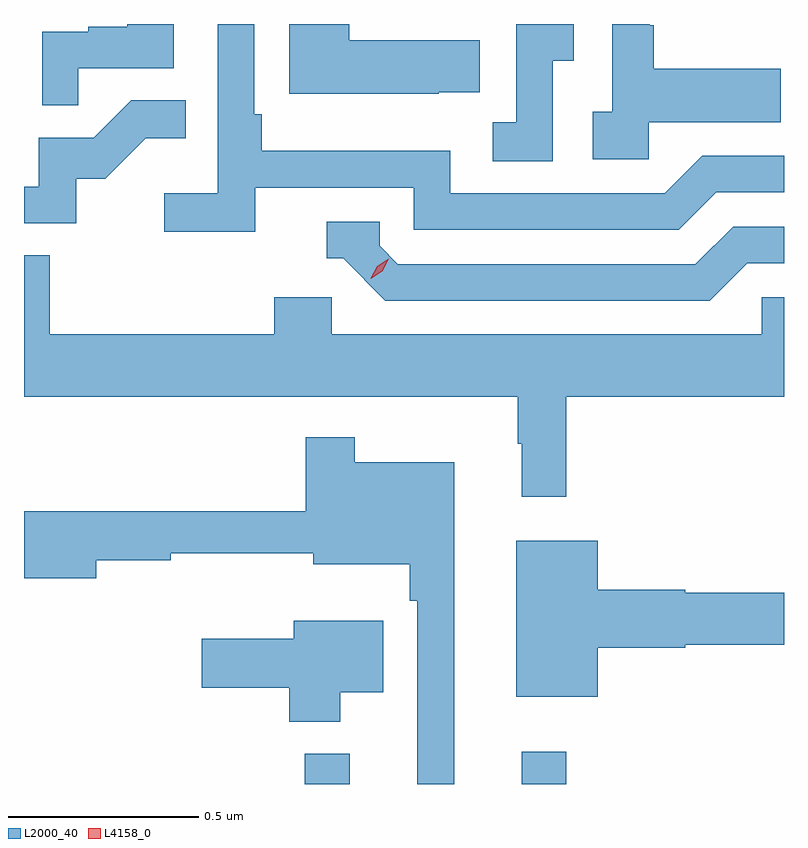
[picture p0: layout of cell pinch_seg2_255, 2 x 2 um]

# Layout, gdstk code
import gdstk
lib = gdstk.Library(unit=1e-6, precision=1e-09)
def R(c, l, rs):  # rectangles x0, y0, x1, y1
    for r in rs: c.add(gdstk.rectangle(r[:2], r[2:], *l))
def P(c, l, *ps):  # polygons
    for p in ps: c.add(gdstk.Polygon(p, *l))
L2000_40 = (2000, 40)
L4158_0 = (4158, 0)

pinch_seg2_255 = lib.new_cell('pinch_seg2_255')
R(pinch_seg2_255, L2000_40, [(945.715,654.609,945.833,654.688), (946.286,654.609,946.403,654.694)])
P(pinch_seg2_255, L2000_40, [(945.584,656.178),(946.002,656.178),(946.002,656.067),(946.699,656.067),(946.798,656.166),(946.976,656.166),(946.976,656.262),(946.761,656.262),(946.662,656.163),(946.098,656.163),(946.098,656.275),(945.602,656.275),(945.602,656.371),(945.582,656.371),(945.582,656.609),(945.486,656.609),(945.486,656.164),(945.345,656.164),(945.345,656.062),(945.584,656.062)],
  [(946.62,656.351),(946.967,656.351),(946.967,656.491),(946.633,656.491),(946.633,656.606),(946.623,656.606),(946.623,656.609),(946.524,656.609),(946.524,656.378),(946.473,656.378),(946.473,656.253),(946.62,656.253)],
  [(946.067,656.429),(946.175,656.429),(946.175,656.566),(945.832,656.566),(945.832,656.609),(945.674,656.609),(945.674,656.426),(946.067,656.426)],
  [(946.368,656.512),(946.423,656.512),(946.423,656.609),(946.272,656.609),(946.272,656.351),(946.209,656.351),(946.209,656.248),(946.368,656.248)],
  [(945.119,656.493),(945.37,656.493),(945.37,656.609),(945.248,656.609),(945.248,656.602),(945.145,656.602),(945.145,656.589),(945.024,656.589),(945.024,656.395),(945.119,656.395)],
  [(945.114,656.202),(945.19,656.202),(945.297,656.309),(945.401,656.309),(945.401,656.408),(945.258,656.408),(945.16,656.31),(945.015,656.31),(945.015,656.181),(944.976,656.181),(944.976,656.085),(945.114,656.085)],
  [(946.879,655.98),(946.976,655.98),(946.976,656.076),(946.842,656.076),(946.743,655.977),(945.96,655.977),(945.912,656.025),(945.912,656.088),(945.773,656.088),(945.773,655.992),(945.816,655.992),(945.927,655.881),(946.78,655.881)],
  [(945.786,655.89),(945.635,655.89),(945.635,655.792),(945.044,655.792),(945.044,656),(944.976,656),(944.976,655.628),(946.275,655.628),(946.275,655.505),(946.286,655.505),(946.286,655.365),(946.403,655.365),(946.403,655.628),(946.976,655.628),(946.976,655.89),(946.917,655.89),(946.917,655.792),(945.786,655.792)],
  [(946.108,655.456),(945.847,655.456),(945.847,655.522),(945.718,655.522),(945.718,655.327),(944.976,655.327),(944.976,655.151),(945.166,655.151),(945.166,655.198),(945.362,655.198),(945.362,655.216),(945.737,655.216),(945.737,655.187),(945.991,655.187),(945.991,655.091),(946.011,655.091),(946.011,654.609),(946.108,654.609)],
  [(946.486,654.968),(946.716,654.968),(946.716,654.976),(946.976,654.976),(946.976,655.112),(946.716,655.112),(946.716,655.12),(946.486,655.12),(946.486,655.249),(946.271,655.249),(946.271,654.839),(946.486,654.839)],
  [(945.808,654.851),(945.922,654.851),(945.922,655.039),(945.686,655.039),(945.686,654.991),(945.444,654.991),(945.444,654.862),(945.674,654.862),(945.674,654.773),(945.808,654.773)])
P(pinch_seg2_255, L4158_0, [(945.888,655.939),(945.888,655.94),(945.905,655.972),(945.936,655.991),(945.936,655.991),(945.936,655.991),(945.919,655.959),(945.888,655.939)])

lib.write_gds('pinch_seg2_255.gds')
